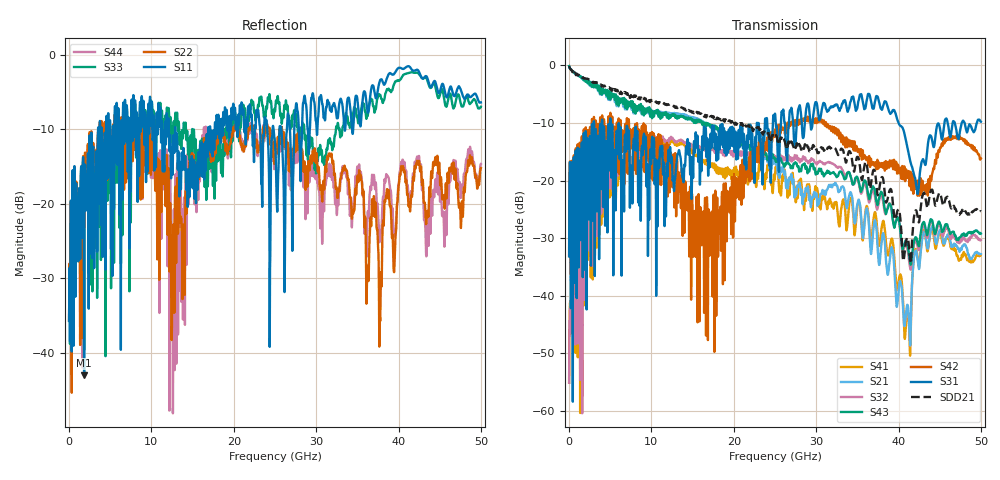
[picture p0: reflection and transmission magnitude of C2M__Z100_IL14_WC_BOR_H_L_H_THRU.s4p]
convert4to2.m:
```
% Manual conversion from 4-port differential S-parameters to 2-port single-ended S-parameters
% No RF Toolbox needed

inputFile  = 'C2M__Z100_IL14_WC_BOR_H_L_H_THRU.s4p';   % Input differential S-parameter file
outputFile = 'channel_two_port.s2p';   % Output single-ended file

% --- Read .s4p file ---
fid = fopen(inputFile);
lines = {};
while ~feof(fid)
    line = strtrim(fgetl(fid));
    if startsWith(line, '!') || isempty(line)
        continue;
    end
    lines{end+1} = line; %#ok<SAGROW>
end
fclose(fid);

% Extract frequency and S-parameters
header = split(lines{1});
freq_unit = header{2}; % e.g. 'GHz'

data = [];
for i = 2:length(lines)
    nums = str2double(split(lines{i}));
    data = [data; nums]; %#ok<AGROW>
end

freq = data(:,1);
S = zeros(4,4,length(freq));  % 4x4 S-matrix

% Parse each line of magnitude/angle data
% Touchstone order: S11 S12 S13 S14 S21 S22 ... S44
for k = 1:length(freq)
    idx = 2;
    for r = 1:4
        for c = 1:4
            mag = data(k,idx); ang = data(k,idx+1);
            S(r,c,k) = mag .* exp(1j*ang*pi/180);
            idx = idx + 2;
        end
    end
end

% --- Perform mixed-mode to single-ended conversion ---
M = (1/sqrt(2)) * [1  0  1  0;
                   -1 0  1  0;
                    0  1  0  1;
                    0 -1  0  1];

S2 = zeros(2,2,length(freq));

for k = 1:length(freq)
    S2(:,:,k) = M * S(:,:,k) * inv(M);
    % Take the 2x2 differential block
    S2(:,:,k) = S2(1:2,1:2);
end

% --- Write output .s2p file ---
fid = fopen(outputFile, 'w');
fprintf(fid, '# %s S MA R 50\n', freq_unit);
for k = 1:length(freq)
    fprintf(fid, '%e ', freq(k));
    for r = 1:2
        for c = 1:2
            mag = abs(S2(r,c,k));
            ang = angle(S2(r,c,k))*180/pi;
            fprintf(fid, '%e %e ', mag, ang);
        end
    end
    fprintf(fid, '\n');
end
fclose(fid);

fprintf('Converted %s → %s\n', inputFile, outputFile);
```
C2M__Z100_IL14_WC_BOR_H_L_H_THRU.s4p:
# GHz S MA R 50
! S-Parameters data
! Freq  magS11  angS11  magS12  angS12  magS13  angS13  magS14  angS14
!  magS21  angS21  magS22  angS22  magS23  angS23  magS24  angS24
!  magS31  angS31  magS32  angS32  magS33  angS33  magS34  angS34
!  magS41  angS41  magS42  angS42  magS43  angS43  magS44  angS44
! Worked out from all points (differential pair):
!   5000 points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, 10 MHz to 50 GHz, reference 50 ohm
!   strongest paths, dB at 10 MHz, 12.51 GHz, 25.01 GHz, 37.51 GHz, 50 GHz:
!     S31: -33.1, -17.1, -8.4, -5.6, -9.8
!     S42: -33.1, -16.5, -11.6, -17.6, -16.1
!     S43: -0.1, -8.7, -16.3, -23.9, -29.2
!     S32: -55.1, -12.6, -16.1, -24.4, -30.3
!     S21: -0.1, -8.4, -16.6, -32.7, -32.8
!     S41: -55.1, -12.9, -19.0, -30.3, -32.9
!   taken as a pair (ports 3,1 in; 4,2 out), SDD21 dB: -0.1, -6.9, -11.8, -22.5, -25.4
!   lowest |S11| = -43.0 dB at 1.83 GHz (marker M1), VSWR 1.01, Z = 50.4 - j0.585 ohm
!   |S11| at or under -10 dB: start of sweep to 3.523 GHz; 12.12 GHz to 12.86 GHz (734.9 MHz wide, 5.88 % of centre); 12.91 GHz to 16.89 GHz (3.985 GHz wide, 26.7 % of centre)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
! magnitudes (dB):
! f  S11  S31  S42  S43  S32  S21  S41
! 10 MHz  -35.7  -33.1  -33.1  -0.1  -55.1  -0.1  -55.1
! 1.83 GHz  -43.0  -12.9  -12.1  -2.4  -37.3  -2.4  -37.7
! 50 GHz  -6.4  -9.8  -16.1  -29.2  -30.3  -32.8  -32.9
